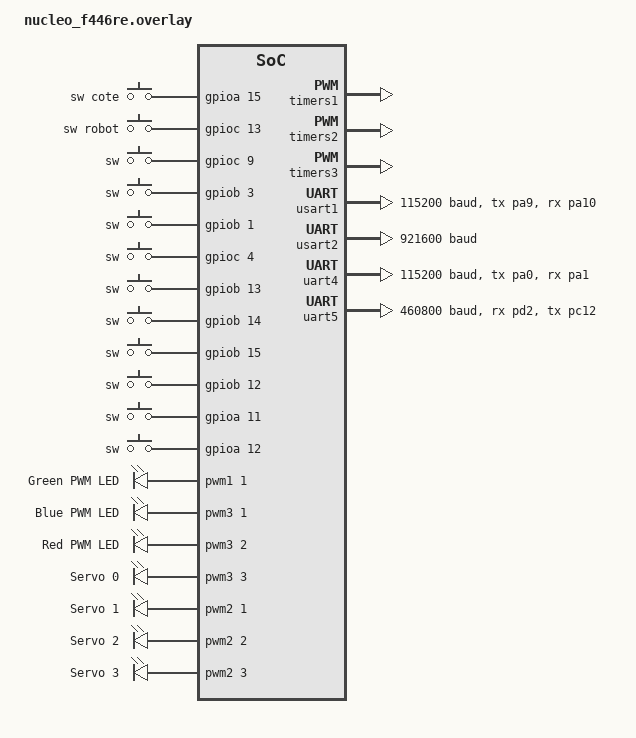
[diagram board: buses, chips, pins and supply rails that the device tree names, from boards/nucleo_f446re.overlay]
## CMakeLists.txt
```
cmake_minimum_required(VERSION 3.20.0)

find_package(Zephyr REQUIRED HINTS $ENV{ZEPHYR_BASE})
project(pokirobot_soft)

target_include_directories(app PRIVATE
    src lib)

file(GLOB_RECURSE APP_SOURCES
    src/*.c lib/*.c)

target_sources(app PRIVATE ${APP_SOURCES})
```

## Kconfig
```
menu "Zephyr"
source "Kconfig.zephyr"
endmenu

menu "PokiSettings"

config CONTROL_TASK
    bool "enable control task"
    default y
config CONTROL_THREAD_STACK
    int "stack size"
    default 16384
config CONTROL_THREAD_PRIORITY
    int "thread priority"
    default 5

module = CONTROL
module-str = control
source "subsys/logging/Kconfig.template.log_config"

config OBSTACLE_MANAGER_THREAD_STACK
    int "Stack size"
    default 1024
config OBSTACLE_MANAGER_THREAD_PRIORITY
    int "Thread priority"
    default 6

module = OBSTACLE_MANAGER
module-str = obstacle_manager
source "subsys/logging/Kconfig.template.log_config"

config PATH_MANAGER_THREAD_STACK
    int "Stack size"
    default 4096
config PATH_MANAGER_THREAD_PRIORITY
    int "Thread priority"
    default 14

module = PATH_MANAGER
module-str = path_manager
source "subsys/logging/Kconfig.template.log_config"

endmenu
```

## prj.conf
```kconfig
# SERIAL
CONFIG_SERIAL=y
CONFIG_LOG=y
CONFIG_UART_INTERRUPT_DRIVEN=y

CONFIG_LOG_MODE_DEFERRED=y
# CONFIG_LOG_MODE_IMMEDIATE=y
CONFIG_LOG_BACKEND_SHOW_COLOR=y
CONFIG_LOG_DEFAULT_LEVEL=3
CONFIG_LOG_BUFFER_SIZE=4096

# MATH
CONFIG_FPU=y
CONFIG_FPU_SHARING=y
CONFIG_NEWLIB_LIBC=y
CONFIG_NEWLIB_LIBC_FLOAT_PRINTF=y

CONFIG_PWM=y
CONFIG_PWM_LOG_LEVEL_DBG=y

CONFIG_HEAP_MEM_POOL_SIZE=16384
CONFIG_MAIN_STACK_SIZE=16384
```

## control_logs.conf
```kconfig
CONFIG_CONTROL_LOG_LEVEL_DBG=y
CONFIG_PATH_MANAGER_LOG_LEVEL_ERR=y
CONFIG_OBSTACLE_MANAGER_LOG_LEVEL_ERR=y
```

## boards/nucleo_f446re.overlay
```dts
/ {
    aliases {
        console = &usart2;
        ui-uart = &uart4;
        stepper-bus = &uart5;
        camsense-uart = &usart1;
        sw-side = &swcote;
        sw-robot = &swrobot;
        sw-tirette = &swtirette;
        red-pwm-led = &red_pwm_led;
        green-pwm-led = &green_pwm_led;
        blue-pwm-led = &blue_pwm_led;
        servo-stick = &servo_1;
        servo-pokpush = &servo_2;
        // servo-arm = &servo_1;
        // servo-orientation = &servo_0;
        sw-power = &sw06;
        sw-arm-top = &sw01;
    };

    gpio_keys {
        compatible = "gpio-keys";
        swcote: swcote {
            gpios = <&gpioa 15 GPIO_ACTIVE_HIGH>;
            label = "sw cote";
        };
        swrobot: swrobot {
            gpios = <&gpioc 13 GPIO_ACTIVE_HIGH>;
            label = "sw robot";
        };
        swtirette: swtirette {
            gpios = <&gpioc 9 GPIO_ACTIVE_HIGH>;
            label = "sw";
        };
        swpompe: swpompe {
            gpios = <&gpiob 3 GPIO_ACTIVE_HIGH>;
            label = "sw";
        };
        swvanne: swvanne {
            gpios = <&gpiob 1 GPIO_ACTIVE_HIGH>;
            label = "sw";
        };
        swelectroaimant: swelectroaimant {
            gpios = <&gpioc 4 GPIO_ACTIVE_HIGH>;
            label = "sw";
        };
        sw01: sw01 {
            gpios = <&gpiob 13 GPIO_ACTIVE_HIGH>;
            label = "sw";
        };
        sw02: sw02 {
            gpios = <&gpiob 14 GPIO_ACTIVE_HIGH>;
            label = "sw";
        };
        sw03: sw03 {
            gpios = <&gpiob 15 GPIO_ACTIVE_HIGH>;
            label = "sw";
        };
        sw04: sw04 {
            gpios = <&gpiob 12 GPIO_ACTIVE_HIGH>;
            label = "sw";
        };
        sw05: sw05 {
            gpios = <&gpioa 11 GPIO_ACTIVE_HIGH>;
            label = "sw";
        };
        sw06: sw06 {
            gpios = <&gpioa 12 GPIO_ACTIVE_HIGH>;
            label = "sw";
        };
    };

    pwmleds {
        compatible = "pwm-leds";
        green_pwm_led: green_pwm_led {
            pwms = <&pwm1 1 0 PWM_POLARITY_NORMAL>;
            label = "Green PWM LED";
            status = "okay";
        };
        blue_pwm_led: blue_pwm_led {
            pwms = <&pwm3 1 0 PWM_POLARITY_NORMAL>;
            label = "Blue PWM LED";
            status = "okay";
        };
        red_pwm_led: red_pwm_led {
            pwms = <&pwm3 2 0 PWM_POLARITY_NORMAL>;
            label = "Red PWM LED";
            status = "okay";
        };
        servo_0: servo_0 {
            pwms = <&pwm3 3 20000000 PWM_POLARITY_NORMAL>;
            label = "Servo 0";
            status = "okay";
        };
        servo_2: servo_2 {
			pwms = <&pwm2 1 20000000 PWM_POLARITY_NORMAL>;
			label = "Servo 1";
			status = "okay";
		};
        servo_1: servo_1 {
			pwms = <&pwm2 2 20000000 PWM_POLARITY_NORMAL>;
			label = "Servo 2";
			status = "okay";
		};
		servo_3: servo_3 {
			pwms = <&pwm2 3 20000000 PWM_POLARITY_NORMAL>;
			label = "Servo 3";
			status = "okay";
		};
	};
};

&timers1 {
    st,prescaler = <128>;
    status = "okay";

    pwm1: pwm {
        status = "okay";
        pinctrl-0 = <&tim1_ch1_pa8>;
        pinctrl-names = "default";
    };
};

&timers2 {
    st,prescaler = <128>;
    status = "okay";

	pwm2: pwm {
		status = "okay";
		pinctrl-0 = <&tim2_ch1_pb8 &tim2_ch2_pb9 &tim2_ch3_pb10>;
		pinctrl-names = "default";
	};
};

&timers3 {
    st,prescaler = <128>;
    status = "okay";

    pwm3: pwm {
        status = "okay";
        pinctrl-0 = <&tim3_ch1_pb4 &tim3_ch2_pb5 &tim3_ch4_pc9>;
        pinctrl-names = "default";
    };
};

&usart1 {
    pinctrl-0 = <&usart1_tx_pa9 &usart1_rx_pa10>;
    pinctrl-names = "default";
    current-speed = <115200>;
    status = "okay";
};

&usart2 {
    status = "okay";
    current-speed = <921600>;
};

&uart4 {
	pinctrl-0 = <&uart4_tx_pa0 &uart4_rx_pa1>;
	pinctrl-names = "default";
	current-speed = <115200>;
	status = "okay";
};

&uart5 {
    status = "okay";
    current-speed = < 460800 >;
    pinctrl-0 = < &uart5_rx_pd2 &uart5_tx_pc12 >;
    pinctrl-names = "default";
    // single-wire;
};

&i2c1 {
    status = "disabled";
};
```

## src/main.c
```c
#include <zephyr/device.h>
#include <zephyr/devicetree.h>
#include <zephyr/kernel.h>
#include <zephyr/drivers/gpio.h>
#include <zephyr/logging/log.h>

#include "pokarm/pokarm.h"
#include "control/control.h"
#include "hmi/hmi_led.h"
#include "tirette/tirette.h"
#include "pokutils.h"
#include "strat/strat.h"
#include "pokstick/pokstick.h"
#include "pokpush/pokpush.h"
#include "pokuicom/pokuicom.h"

LOG_MODULE_REGISTER(main);

void hardware_init(void)
{
    LOG_INF("MATCH INIT");
    static const struct gpio_dt_spec led = GPIO_DT_SPEC_GET(DT_ALIAS(led0), gpios);
    // static const struct gpio_dt_spec sw_side = GPIO_DT_SPEC_GET(DT_ALIAS(sw_side), gpios);
    static const struct gpio_dt_spec sw_power = GPIO_DT_SPEC_GET(DT_ALIAS(sw_power), gpios);
    
    pokstick_retract();
    pokpush_retract();

    int ret = gpio_pin_configure_dt(&led, GPIO_OUTPUT_ACTIVE);
    if (ret < 0) {
        LOG_ERR("failed to init led");
        goto exit;
    }
    ret = gpio_pin_configure_dt(&sw_power, GPIO_INPUT);
    if (ret < 0) {
        LOG_ERR("failed to init sw_power");
        goto exit;
    }
    if (!device_is_ready(led.port)) {
        LOG_ERR("failed to init led");
        goto exit;
    }

    LOG_INF("WAIT FOR TASKS AND POWER");
    while (!gpio_pin_get_dt(&sw_power)) {
        k_sleep(K_MSEC(1));
    }

    LOG_INF("POWER IS UP!");
    shared_ctrl.start_init = true;

    LOG_INF("MATCH WAIT FOR TASKS");
    control_task_wait_ready();

    k_sleep(K_MSEC(500));
    hmi_led_success();
exit:
    return;
}

void match(void)
{
    hardware_init();

    LOG_INF("MATCH WAIT START");

    strat_run();

    k_sleep(K_FOREVER);
    return;
}

#include "strat/strat_interface.h"
#include "nav/nav.h"

int main(void)
{
    LOG_INF("BOOTING");

    // _test_gconf();
    // _test_motor_cmd();
    // _test_target();
    // _test_calibration_distance();
    // _test_calibration_angle();
    // _test_calibration_mix();
    // _test_drawing();
    // _test_connerie();
    // _test_pathfinding();
    // _test_pathfinding();
    // _test_pokarm_stepper();

    match();
    // nav_init();
    // shared_ctrl.start_init = true;

    // control_task_wait_ready();

    // control_set_pos(&shared_ctrl, (pos2_t){.x = 200, .y = 200, .a = -M_PI_2});
    // shared_ctrl.start = true;

    // nav_go_to_with_pathfinding((pos2_t){.x = 2000 - 200, .y = 200, .a = -M_PI_2}, NULL, 0);

    // while (1) {
    //     k_sleep(K_SECONDS(1));
    // }

    // LOG_ERR("HAAAAAAAAAAAAAAAAAAAAAA");
    return 0;
}
```

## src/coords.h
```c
#ifndef COORDS_H
#define COORDS_H

#include "pokutils.h"

#define SIDE_YELLOW 0
#define SIDE_PURPLE 1

#define TRANSFORM_SIDE(_side, _pos) (_side == SIDE_YELLOW ? TRANSFORM_YELLOW(_pos) : _pos)

#define TRANSFORM_YELLOW(_purple_coord)                                                            \
    ((pos2_t){.x = -_purple_coord.x, .y = _purple_coord.y, .a = -_purple_coord.a})

#define OFFSET_EDGE                      158.978f
#define OFFSET_SIDE                      133.923f
#define OFFSET_WHEEL_EXTERNAL_FLAT       (OFFSET_EDGE + 22.0f)
#define OFFSET_WHEEL_EXTERNAL_PROJECTION (OFFSET_SIDE + 38.8f)

#define COORDS_START                                                                               \
    ((pos2_t){.x = 1500.0f - OFFSET_EDGE,                                                          \
              .y = 1000.0f + OFFSET_WHEEL_EXTERNAL_PROJECTION,                                     \
              .a = 0.5f * M_PI})

#define COORDS_HOME                                                                                \
    ((pos2_t){.x = 1300.0f - OFFSET_EDGE,                                                          \
              .y = 1300.0f + OFFSET_WHEEL_EXTERNAL_PROJECTION,                                     \
              .a = -0.5f * M_PI})

#define COORDS_CARREFOUILLE ((pos2_t){.x = 647.5f, .y = 0.0f + OFFSET_EDGE, .a = 1.0f * M_PI})

#define COORDS_CARREFOUILLE_B1 ((pos2_t){.x = 925.0f, .y = 575.0f, .a = 1.0f * M_PI})

#define COORDS_CARREFOUILLE_B2 ((pos2_t){.x = 925.0f, .y = 325.0f, .a = 1.0f * M_PI})

#define COORDS_CARREFOUILLE_B3 ((pos2_t){.x = 647.5f, .y = 325.0f, .a = 1.0f * M_PI})

#define COORDS_CARREFOUILLE_A1                                                                     \
    ((pos2_t){.x = 647.5f,                                                                         \
              .y = 325.0f,                                                                         \
              .a = (1.0f / 2.0f - (1.0f / 3.0f + 1.0 / 6.0f + 1.0f / 12.0f)) * M_PI})

#define COORDS_VITRINE                                                                             \
    ((pos2_t){.x = 1500.0f - 345.0f - 130.0f,                                                      \
              .y = 2000.0f - OFFSET_WHEEL_EXTERNAL_FLAT,                                           \
              .a = -(-1.0f / 3.0f - 1.0f / 6.0f) * M_PI})

#define COORDS_VITRINE_B1                                                                          \
    ((pos2_t){.x = 1500.0f - 345.0f,                                                               \
              .y = 2000.0f - OFFSET_WHEEL_EXTERNAL_FLAT,                                           \
              .a = -(-1.0f / 3.0f - 1.0f / 6.0f) * M_PI})

#define COORDS_STATUETTE                                                                           \
    ((pos2_t){.x = 1191.0f + OFFSET_WHEEL_EXTERNAL_PROJECTION,                                     \
              .y = 251.0f + OFFSET_WHEEL_EXTERNAL_PROJECTION,                                      \
              .a = (1.0f / 2.0f - (1.0f / 3.0f + 1.0 / 6.0f + 1.0f / 12.0f)) * M_PI})

#endif // COORDS_H
```

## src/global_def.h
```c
#ifndef GLOBAL_DEF_H
#define GLOBAL_DEF_H

#define ROBOT_RADIUS_INSCRIT_MM (335 / 2.0f)
#define ROBOT_MAX_RADIUS_MM     210
#define ROBOT_MIN_RADIUS_MM     120

#define BOARD_SIZE_X   3000
#define BOARD_MIN_X    -1500
#define BOARD_MAX_X    (BOARD_MIN_X + BOARD_SIZE_X)
#define BOARD_CENTER_X ((float)(BOARD_MIN_X + BOARD_MAX_X) / 2)
#define BOARD_SIZE_Y   2000
#define BOARD_MIN_Y    0
#define BOARD_MAX_Y    (BOARD_MIN_Y + BOARD_SIZE_Y)
#define BOARD_CENTER_Y ((float)(BOARD_MIN_Y + BOARD_MAX_Y) / 2)

#endif
```

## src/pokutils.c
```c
#include "pokutils.h"

#include <math.h>
#include <zephyr/kernel.h>

#include <zephyr/logging/log.h>

LOG_MODULE_REGISTER(utils);

vec2_t point2_diff(const point2_t terminal, const point2_t initial)
{
    vec2_t delta = {
        .dx = terminal.x - initial.x,
        .dy = terminal.y - initial.y,
    };
    return delta;
}

vec2_t vec2_normalize(vec2_t vec)
{
    float length = vec2_abs(vec);
    if (length > 0) {
        vec.dx /= length;
        vec.dy /= length;
    }
    return vec;
}

float vec2_abs(vec2_t vec)
{
    return sqrtf(vec.dx * vec.dx + vec.dy * vec.dy);
}

float vec2_dot(vec2_t a, vec2_t b)
{
    return a.dx * b.dx + a.dy * b.dy;
}

float vec2_angle(vec2_t a, vec2_t b)
{
    return acosf(vec2_dot(a, b) / (vec2_abs(a) * vec2_abs(b)));
}

float vec2_distance(point2_t a, point2_t b)
{
    return vec2_abs(point2_diff(a, b));
}

pos2_t pos2_diff(const pos2_t terminal, const pos2_t initial)
{
    pos2_t delta = {
        .x = terminal.x - initial.x,
        .y = terminal.y - initial.y,
        .a = terminal.a - initial.a,
    };
    return delta;
}

pos2_t pos2_add(const pos2_t a, const pos2_t b)
{
    pos2_t c = {
        .x = a.x + b.x,
        .y = a.y + b.y,
        .a = a.a + b.a,
    };
    return c;
}


float angle_modulo(float a)
{
    return fmodf(a + M_PI, 2 * M_PI) - M_PI;
}
```

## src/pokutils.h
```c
#ifndef POKUTILS_H
#define POKUTILS_H

#include <zephyr/kernel.h>
#include <math.h>

// needed with newlib
// https://github.com/zephyrproject-rtos/zephyr/blob/main/lib/libc/minimal/include/math.h
#define MAXFLOAT 3.40282347e+38F

#if !(defined __USE_MISC || defined __USE_XOPEN)
#define M_E        2.7182818284590452354f
#define M_LOG2E    1.4426950408889634074f
#define M_LOG10E   0.43429448190325182765f
#define M_LN2      0.693147180559945309417f
#define M_LN10     2.30258509299404568402f
#define M_PI       3.14159265358979323846f
#define M_PI_2     1.57079632679489661923f
#define M_PI_4     0.78539816339744830962f
#define M_1_PI     0.31830988618379067154f
#define M_2_PI     0.63661977236758134308f
#define M_2_SQRTPI 1.12837916709551257390f
#define M_SQRT2    1.41421356237309504880f
#define M_SQRT1_2  0.70710678118654752440f
#define M_SQRT3    1.73205080756887729352f
#endif

#define RAD_TO_DEG(_rad) ((_rad) * 180.0f / M_PI)
#define DEG_TO_RAD(_deg) ((_deg) / 180.0f * M_PI)

#define SIGNF(_val)     (signbit(_val) ? -1.0f : 1.0f)
#define NEG_SQRTF(_val) (SIGNF(_val) * sqrtf(fabsf(_val)))

#define LOCKVAR(_type)                                                                             \
    struct {                                                                                       \
        struct k_mutex lock;                                                                       \
        _type val;                                                                                 \
    }

#define INIT_LOCKVAR(_var) k_mutex_init(&((_var).lock))

#define READ_LOCKVAR(_var, _dst, _err, _timeout)                                                   \
    (_err) = k_mutex_lock(&((_var).lock), (_timeout));                                             \
    if (!(_err)) {                                                                                 \
        (_dst) = (_var).val;                                                                       \
        k_mutex_unlock(&((_var).lock));                                                            \
    }

#define SET_LOCKVAR(_var, _src, _err, _timeout)                                                    \
    (_err) = k_mutex_lock(&((_var).lock), (_timeout));                                             \
    if (!(_err)) {                                                                                 \
        (_var).val = (_src);                                                                       \
        k_mutex_unlock(&((_var).lock));                                                            \
    }

typedef struct point2 {
    float x;
    float y;
} point2_t;

typedef struct vec2 {
    float dx;
    float dy;
} vec2_t;

typedef struct pos2 {
    float x;
    float y;
    float a;
} pos2_t;

typedef struct vel2 {
    float vx;
    float vy;
    float w;
} vel2_t;

vec2_t point2_diff(const point2_t terminal, const point2_t initial);
vec2_t vec2_normalize(vec2_t vec);
float vec2_abs(vec2_t vec);
float vec2_dot(vec2_t a, vec2_t b);
float vec2_angle(vec2_t a, vec2_t b);
float vec2_distance(point2_t a, point2_t b);

pos2_t pos2_diff(const pos2_t target, const pos2_t orig);
pos2_t pos2_add(const pos2_t a, const pos2_t b);
float angle_modulo(float a);
#endif // UTILS_H
```

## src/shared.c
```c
#include "shared.h"

#include <zephyr/kernel.h>

#include "uart_hdb/uart_hdb.h"
#include "pokutils.h"
#include <zephyr/logging/log.h>

LOG_MODULE_REGISTER(shared);

uart_hdb_t steppers_uart_hdb;

int shared_init(void)
{
    LOG_INF("shared objects init");

    if (uart_hdb_init(&steppers_uart_hdb, DEVICE_DT_GET(DT_ALIAS(stepper_bus)))) {
        LOG_ERR("failed to init steppers_uart_hdb");
        return -ENODEV;
    }
    LOG_INF("shared objects init done");
    return 0;
}

SYS_INIT(shared_init, APPLICATION, 90);
```

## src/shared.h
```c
#ifndef SHARED_H
#define SHARED_H

#include "tmc2209/tmc2209.h"
#include "uart_hdb/uart_hdb.h"
#include "pokutils.h"

// declare here every global device that is not defined by its own task

extern uart_hdb_t steppers_uart_hdb;

#endif // SHARED_H
```

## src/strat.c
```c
#include <zephyr/logging/log.h>
#include "pokibrain/pokibrain.h"
#include "strat.h"
#include "pokutils.h"
#include <stdint.h>

LOG_MODULE_REGISTER(strategy);

#define BOARD_SIZE_X   2000
#define BOARD_CENTER_X 1000
#define BOARD_SIZE_Y   3000
#define BOARD_CENTER_Y 1500
#define PLATE_SIZE	   450

#define NB_CHERRY_PER_DISPENSER	 10
#define CHERRY_DISPENSER_WIDTH	 300
#define CHERRY_DISPENSER_DEPTH	 30
#define CHERRY_DISPENSER_WIDTH_2 150
#define CHERRY_DISPENSER_DEPTH_2 15
enum layer_color {
	LAYER_COLOR_YELLOW,
	LAYER_COLOR_PINK,
	LAYER_COLOR_BROWN,
};

struct cake_layer {
	enum layer_color color;
	point2_t pos;
};

static struct cake_layer layer_list[] = {
	(struct cake_layer){.color = LAYER_COLOR_BROWN,
						.pos = {.x = BOARD_CENTER_X - 275, .y = BOARD_CENTER_Y - 375}},
	(struct cake_layer){.color = LAYER_COLOR_BROWN,
						.pos = {.x = BOARD_CENTER_X + 275, .y = BOARD_CENTER_Y - 375}},
	(struct cake_layer){.color = LAYER_COLOR_BROWN,
						.pos = {.x = BOARD_CENTER_X - 275, .y = BOARD_CENTER_Y + 375}},
	(struct cake_layer){.color = LAYER_COLOR_BROWN,
						.pos = {.x = BOARD_CENTER_X + 275, .y = BOARD_CENTER_Y + 375}},
	(struct cake_layer){.color = LAYER_COLOR_PINK, .pos = {.x = 225, .y = 575}},
	(struct cake_layer){.color = LAYER_COLOR_PINK, .pos = {.x = BOARD_SIZE_X - 225, .y = 575}},
	(struct cake_layer){.color = LAYER_COLOR_PINK, .pos = {.x = 225, .y = BOARD_SIZE_Y - 575}},
	(struct cake_layer){.color = LAYER_COLOR_PINK,
						.pos = {.x = BOARD_SIZE_X - 225, .y = BOARD_SIZE_Y - 575}},
	(struct cake_layer){.color = LAYER_COLOR_PINK, .pos = {.x = 225, .y = 775}},
	(struct cake_layer){.color = LAYER_COLOR_PINK, .pos = {.x = BOARD_SIZE_X - 225, .y = 775}},
	(struct cake_layer){.color = LAYER_COLOR_PINK, .pos = {.x = 225, .y = BOARD_SIZE_Y - 775}},
	(struct cake_layer){.color = LAYER_COLOR_PINK,
						.pos = {.x = BOARD_SIZE_X - 225, .y = BOARD_SIZE_Y - 775}},

};

enum plate_color {
	PLATE_COLOR_BLUE,
	PLATE_COLOR_GREEN,
};

struct plate {
	enum plate_color color;
	point2_t pos;
	uint8_t cake_size;
};

static struct plate plate_list[] = {
	// GREEN
	(struct plate){.color = PLATE_COLOR_GREEN, .pos = {.x = 225, .y = 225}},
	(struct plate){.color = PLATE_COLOR_GREEN, .pos = {.x = BOARD_CENTER_X + 275, .y = 225}},
	(struct plate){.color = PLATE_COLOR_GREEN,
				   .pos = {.x = BOARD_SIZE_X - 225, .y = BOARD_CENTER_Y - 375}},
	(struct plate){.color = PLATE_COLOR_GREEN, .pos = {.x = 225, .y = BOARD_CENTER_Y + 375}},
	(struct plate){.color = PLATE_COLOR_GREEN,
				   .pos = {.x = BOARD_SIZE_X - 225, .y = BOARD_SIZE_Y - 225}},
	// BLUE
	(struct plate){.color = PLATE_COLOR_BLUE, .pos = {.x = BOARD_CENTER_X - 275, .y = 225}},
	(struct plate){.color = PLATE_COLOR_BLUE, .pos = {.x = BOARD_SIZE_X - 225, .y = 225}},
	(struct plate){.color = PLATE_COLOR_BLUE, .pos = {.x = 225, .y = BOARD_CENTER_Y - 375}},
	(struct plate){.color = PLATE_COLOR_BLUE,
				   .pos = {.x = BOARD_SIZE_X - 225, .y = BOARD_CENTER_Y + 375}},
	(struct plate){.color = PLATE_COLOR_BLUE, .pos = {.x = 225, .y = BOARD_SIZE_Y - 225}},
};

struct cherry_dispenser {
	pos2_t pos;
};

struct cherry_dispenser dispenser_list[] = {
	(struct cherry_dispenser){.pos = {.x = BOARD_CENTER_X, .y = CHERRY_DISPENSER_WIDTH_2, .a = 0}},
	(struct cherry_dispenser){
		.pos = {.x = BOARD_CENTER_X, .y = BOARD_SIZE_Y - CHERRY_DISPENSER_WIDTH_2, .a = 0}},
	(struct cherry_dispenser){.pos = {.x = CHERRY_DISPENSER_DEPTH_2, .y = BOARD_CENTER_Y, .a = 0}},
	(struct cherry_dispenser){
		.pos = {.x = BOARD_SIZE_X - CHERRY_DISPENSER_DEPTH_2, .y = BOARD_CENTER_Y, .a = 0}},
};

struct pokibrain_user_context {
	uint8_t nb_cake_layer_grabbed;
	uint8_t nb_cherry_grabbed;
};

uint8_t pokibrain_task_grab_cake_layer(struct pokibrain_callback_params *params)
{
	LOG_INF("RUNNING %s", __func__);
	return 0;
}

int32_t pokibrain_reward_calculation_grab_cake_layer(struct pokibrain_callback_params *params)
{
	LOG_DBG("REWARD CALC %s", __func__);
	return 0;
}

uint8_t pokibrain_completion_grab_cake_layer(struct pokibrain_callback_params *params)
{
	LOG_DBG("COMPLETION %s", __func__);

	struct pokibrain_user_context *ctx = params->world_context;

	ctx->nb_cake_layer_grabbed = MIN(3, ctx->nb_cake_layer_grabbed + 1);
	return 0;
}

uint8_t pokibrain_task_put_cake_layer_in_plate(struct pokibrain_callback_params *params)
{
	LOG_INF("RUNNING %s", __func__);
	return 0;
}

int32_t
pokibrain_reward_calculation_put_cake_layer_in_plate(struct pokibrain_callback_params *params)
{
	LOG_DBG("REWARD CALC %s", __func__);
	struct pokibrain_user_context *ctx = params->world_context;
	return 10 * ctx->nb_cake_layer_grabbed;
}

uint8_t pokibrain_completion_put_cake_layer_in_plate(struct pokibrain_callback_params *params)
{
	LOG_DBG("COMPLETION %s", __func__);
	struct pokibrain_user_context *ctx = params->world_context;
	ctx->nb_cake_layer_grabbed = 0;
	return 0;
}

/**
 * We need :
 * - grab a slice
 * - deposit of a slice in a plate
	1 pt per slice + 4 for the legendary recipe
	pink
	yellow
	brown
 * - grab cherry
 * - put cherry on the cake 3pt
 * - deposit cherry in basket
 * - go back in start area 15 pt
 * - funny action
 */

static void strat_end_game_clbk(void)
{
	LOG_INF("GAME IS OVER");
}

void strat_init(void)
{
	static struct pokibrain_user_context world_context;
	static struct pokibrain_task tasks[] = {
		{.name = "grab",
		 .reward_calculation = pokibrain_reward_calculation_grab_cake_layer,
		 .task_process = pokibrain_task_grab_cake_layer,
		 .completion_callback = pokibrain_completion_grab_cake_layer},
		{.name = "put",
		 .reward_calculation = pokibrain_reward_calculation_put_cake_layer_in_plate,
		 .task_process = pokibrain_task_put_cake_layer_in_plate,
		 .completion_callback = pokibrain_completion_put_cake_layer_in_plate}};
	pokibrain_init(tasks, sizeof(tasks) / sizeof(tasks[0]), &world_context,
				   sizeof(struct pokibrain_user_context), strat_end_game_clbk);
}

void strat_run(void)
{
	pokibrain_start();
}
```

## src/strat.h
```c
#ifndef STRAT_H
#define STRAT_H

void strat_init(void);
void strat_run(void);

#endif
```

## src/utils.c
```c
#include "utils.h"

#include <math.h>
#include <zephyr/kernel.h>

#include <zephyr/logging/log.h>

LOG_MODULE_REGISTER(utils);

vec2_t point2_diff(const point2_t terminal, const point2_t initial)
{
	vec2_t delta = {
		.dx = terminal.x - initial.x,
		.dy = terminal.y - initial.y,
	};
	return delta;
}

float vec2_abs(vec2_t vec)
{
	return sqrtf(vec.dx * vec.dx + vec.dy * vec.dy);
}

float vec2_dot(vec2_t a, vec2_t b)
{
	return a.dx * b.dx + a.dy * b.dy;
}

float vec2_angle(vec2_t a, vec2_t b)
{
	return acosf(vec2_dot(a, b) / (vec2_abs(a) * vec2_abs(b)));
}

float vec2_fast_abs(vec2_t vec)
{
	// https://www.flipcode.com/archives/Fast_Approximate_Distance_Functions.shtml
	// https://gamedev.stackexchange.com/questions/69241/how-to-optimize-the-distance-function
	return 0.5 * (vec.dx + vec.dy + Z_MAX(vec.dx, vec.dy));
}

pos2_t pos2_diff(const pos2_t terminal, const pos2_t initial)
{
	pos2_t delta = {
		.x = terminal.x - initial.x,
		.y = terminal.y - initial.y,
		.a = terminal.a - initial.a,
	};
	return delta;
}
```

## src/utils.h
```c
#ifndef UTILS_H
#define UTILS_H

#include <zephyr/kernel.h>

// needed with newlib
// https://github.com/zephyrproject-rtos/zephyr/blob/main/lib/libc/minimal/include/math.h
#define MAXFLOAT 3.40282347e+38F

#define M_E		   2.7182818284590452354
#define M_LOG2E	   1.4426950408889634074
#define M_LOG10E   0.43429448190325182765
#define M_LN2	   0.693147180559945309417
#define M_LN10	   2.30258509299404568402
#define M_PI	   3.14159265358979323846
#define M_PI_2	   1.57079632679489661923
#define M_PI_4	   0.78539816339744830962
#define M_1_PI	   0.31830988618379067154
#define M_2_PI	   0.63661977236758134308
#define M_2_SQRTPI 1.12837916709551257390
#define M_SQRT2	   1.41421356237309504880
#define M_SQRT1_2  0.70710678118654752440
#define M_SQRT3	   1.73205080756887729352

#define DEG_TO_RAD(_rad) (_rad * 180.0f / M_PI)

#define LOCKVAR(_type)                                                                             \
	struct {                                                                                       \
		struct k_mutex lock;                                                                       \
		_type val;                                                                                 \
	}

#define INIT_LOCKVAR(_var) k_mutex_init(&((_var).lock))

#define READ_LOCKVAR(_var, _dst, _err, _timeout)                                                   \
	(_err) = k_mutex_lock(&((_var).lock), (_timeout));                                             \
	if (!(_err)) {                                                                                 \
		(_dst) = (_var).val;                                                                       \
		k_mutex_unlock(&((_var).lock));                                                            \
	}

#define SET_LOCKVAR(_var, _src, _err, _timeout)                                                    \
	(_err) = k_mutex_lock(&((_var).lock), (_timeout));                                             \
	if (!(_err)) {                                                                                 \
		(_var).val = (_src);                                                                       \
		k_mutex_unlock(&((_var).lock));                                                            \
	}

typedef struct point2 {
	float x;
	float y;
} point2_t;

typedef struct vec2 {
	float dx;
	float dy;
} vec2_t;

typedef struct pos2 {
	float x;
	float y;
	float a;
} pos2_t;

typedef struct vel2 {
	float vx;
	float vy;
	float w;
} vel2_t;

vec2_t point2_diff(const point2_t terminal, const point2_t initial);
float vec2_abs(vec2_t vec);
float vec2_fast_abs(vec2_t vec);
float vec2_dot(vec2_t a, vec2_t b);
float vec2_angle(vec2_t a, vec2_t b);

pos2_t pos2_diff(const pos2_t target, const pos2_t orig);

#endif // UTILS_H
```
